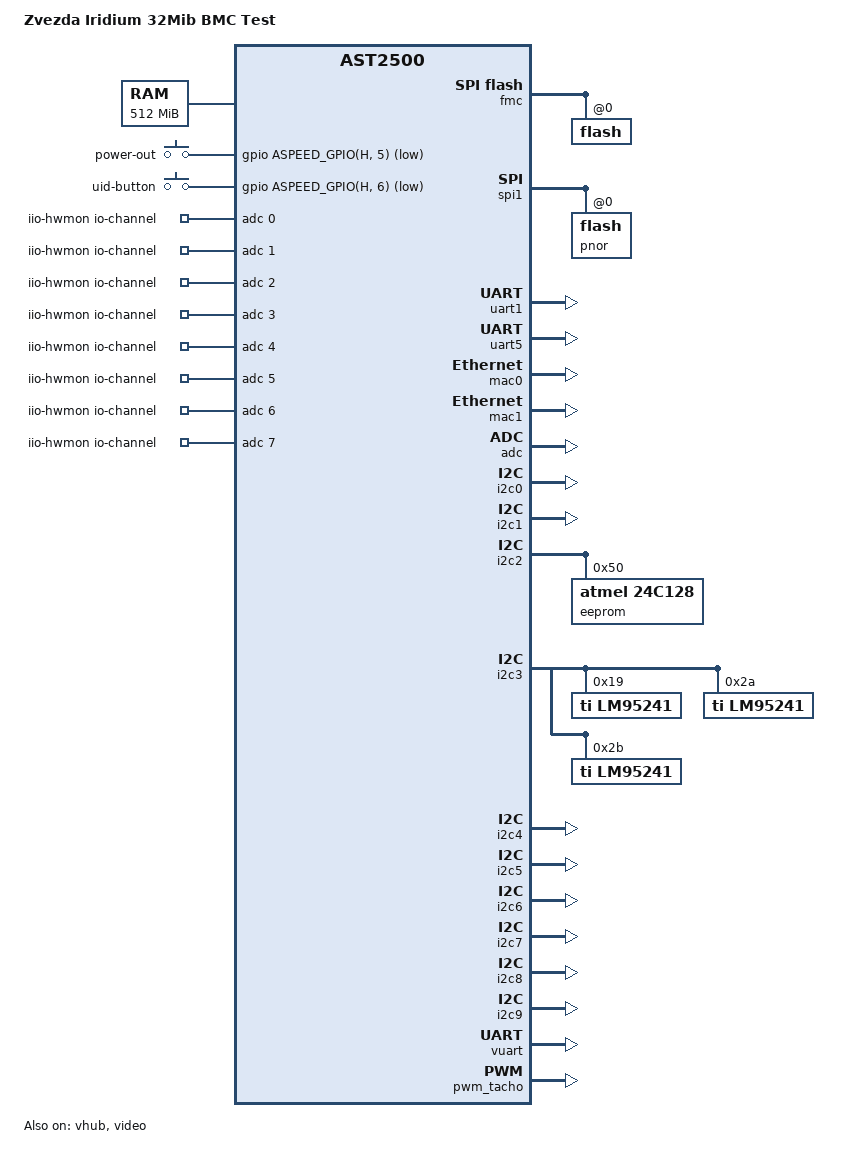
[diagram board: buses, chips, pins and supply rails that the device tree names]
// SPDX-License-Identifier: GPL-2.0+
/dts-v1/;
#include "aspeed-g5.dtsi"
#include <dt-bindings/gpio/aspeed-gpio.h>
#include <dt-bindings/i2c/i2c.h>

/ {
	model = "Zvezda Iridium 32Mib BMC Test";
	compatible = "zvezda,iridium32-bmc", "aspeed,ast2500";

	aliases {
		serial0 = &uart1;
		serial4 = &uart5;
	};

	chosen {
		stdout-path = &uart5;
		bootargs = "console=ttyS4,115200 earlyprintk";
	};

	memory@80000000 {
		reg = <0x80000000 0x20000000>;
	};

  reserved-memory {
        #address-cells = <1>;
        #size-cells = <1>;
        ranges;

        vga_memory: framebuffer@9f000000 {
        no-map;
        reg = <0x9f000000 0x01000000>; /* 16M */
	};

        gfx_memory: framebuffer {
                size = <0x01000000>;
                alignment = <0x01000000>;
                compatible = "shared-dma-pool";
                reusable;
        };

        video_engine_memory: jpegbuffer {
                size = <0x02000000>;    /* 32M */
                alignment = <0x01000000>;
                compatible = "shared-dma-pool";
                reusable;
                };
        };

        gpio-keys {
                compatible = "gpio-keys";

                power-out {
                        label = "power-out";
                        gpios = <&gpio ASPEED_GPIO(H, 5) GPIO_ACTIVE_LOW>;
                };

                uid-button {
                        label = "uid-button";
                        gpios = <&gpio ASPEED_GPIO(H, 6) GPIO_ACTIVE_LOW>;
                };
        };

        iio-hwmon {
                compatible = "iio-hwmon";
		io-channels = <&adc 0>, <&adc 1>, <&adc 2>, <&adc 3>,
		              <&adc 4>, <&adc 5>, <&adc 6>, <&adc 7>;
	};
};

&fmc {
	status = "okay";
	flash@0 {
		status = "okay";
		m25p,fast-read;
#include "openbmc-flash-layout.dtsi"
	};
};

&spi1 {
	status = "okay";
	pinctrl-names = "default";
	pinctrl-0 = <&pinctrl_spi1_default>;
	flash@0 {
		status = "okay";
		m25p,fast-read;
		label = "pnor";
	};
};

&uart1 {
	status = "okay";
	pinctrl-names = "default";
	pinctrl-0 = <&pinctrl_txd1_default
		     &pinctrl_rxd1_default>;
};

&uart5 {
	status = "okay";
};

&mac0 {
	status = "okay";

	pinctrl-names = "default";
	pinctrl-0 = <&pinctrl_rmii1_default>;
	clocks = <&syscon ASPEED_CLK_GATE_MAC1CLK>,
		 <&syscon ASPEED_CLK_MAC1RCLK>;
	clock-names = "MACCLK", "RCLK";
	use-ncsi;
};

&mac1 {
	status = "okay";

	pinctrl-names = "default";
	pinctrl-0 = <&pinctrl_rmii2_default>;
	use-ncsi;
};

&adc {
	status = "okay";
};

&i2c0 {
	status = "okay";
};

&i2c1 {
	status = "okay";
};

&i2c2 {
	status = "okay";
	eeprom@50 {
		compatible = "atmel,24c128";
		reg = <0x50>;
	};
};

&i2c3 {
        status = "okay";
        lm95241@19 {
                compatible = "ti,lm95241";
                reg = <0x19>;
        };

        lm95241@2a {
                compatible = "ti,lm95241";
                reg = <0x2a>;
        };

        lm95241@2b {
                compatible = "ti,lm95241";
                reg = <0x2b>;
        };
};

&i2c4 {
        status = "okay";
};

&i2c5 {
	status = "okay";
};

&i2c6 {
	status = "okay";
};

&i2c7 {
	status = "okay";
};

&i2c8 {
	status = "okay";
};

&i2c9 {
	status = "okay";
};

&vuart {
        status = "okay";
        aspeed,sirq-active-high;
};

&vhub {
        status = "okay";
};

&video {
        status = "okay";
        memory-region = <&video_engine_memory>;
};

&pwm_tacho {
	status = "okay";
	pinctrl-names = "default";
	pinctrl-0 = <&pinctrl_pwm0_default
				&pinctrl_pwm1_default
				&pinctrl_pwm2_default
				&pinctrl_pwm3_default
				&pinctrl_pwm4_default
				&pinctrl_pwm5_default
				&pinctrl_pwm6_default>;

	fan@0 {
		reg = <0x00>;
		aspeed,fan-tach-ch = /bits/ 8 <0x00>;
	};

	fan@1 {
		reg = <0x00>;
		aspeed,fan-tach-ch = /bits/ 8 <0x01>;
	};

	fan@2 {
		reg = <0x01>;
		aspeed,fan-tach-ch = /bits/ 8 <0x02>;
	};

	fan@3 {
		reg = <0x01>;
		aspeed,fan-tach-ch = /bits/ 8 <0x03>;
	};

	fan@4 {
		reg = <0x02>;
		aspeed,fan-tach-ch = /bits/ 8 <0x04>;
	};

	fan@5 {
		reg = <0x02>;
		aspeed,fan-tach-ch = /bits/ 8 <0x05>;
	};

	fan@6 {
		reg = <0x03>;
		aspeed,fan-tach-ch = /bits/ 8 <0x06>;
	};
};
